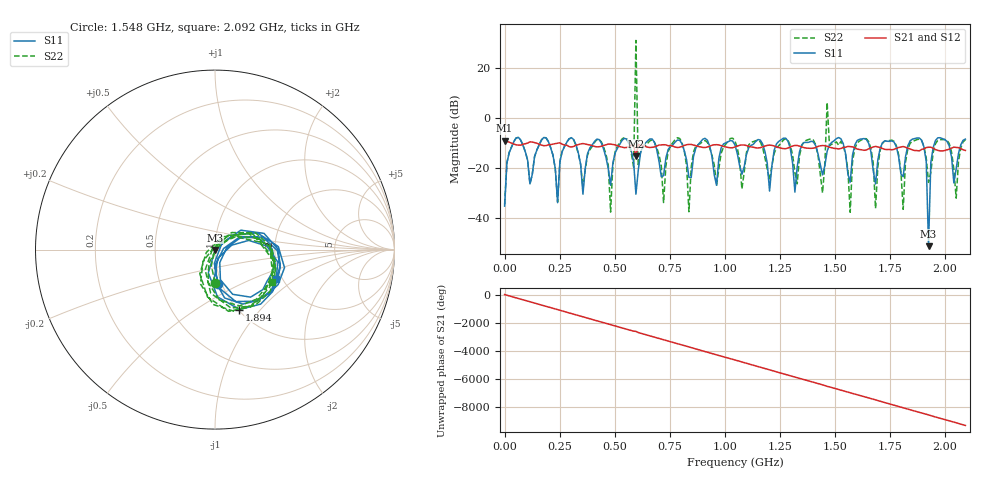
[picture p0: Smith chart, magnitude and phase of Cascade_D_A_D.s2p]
!Agilent Technologies,E8357A,US42070586,A.04.87.01
!Agilent E8357A: A.04.87.01
!Date: Thursday, April 15, 2021 17:30:00
!Correction: S11(Full 2 Port SOLT,1,2) S21(Full 2 Port SOLT,1,2) S12(Full 2 Port SOLT,1,2) S22(Full 2 Port SOLT,1,2)
!S2P File: Measurements: S11, S21, S12, S22:
# Hz S  RI  R 50
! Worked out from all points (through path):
!   201 points, 300 kHz to 2.092 GHz, reference 50 ohm
!   highest |S21| = -9.11 dB at 300 kHz (marker M1); lowest = -15.3 dB at 596.5 MHz (marker M2)
!   lowest |S11| = -51.2 dB at 1.925 GHz (marker M3), VSWR 1.01, Z = 50 - j0.271 ohm
!   |S11| at or under -10 dB: 78.89 MHz to 161.3 MHz (82.43 MHz wide, 68.6 % of centre); 439.7 MHz to 526.7 MHz (87 MHz wide, 18 % of centre); 1.041 GHz to 1.135 GHz (94.07 MHz wide, 8.65 % of centre)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
!   |S22| runs from -37.7 to 30.9 dB; largest |S21 - S12| = 4.5
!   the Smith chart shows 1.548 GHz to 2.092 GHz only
!   S11 on the Smith chart (normalised r, x): 1.548 GHz: 0.96, -0.38; 1.894 GHz: 1.01, -0.78; 2.092 GHz: 1.85, -0.71
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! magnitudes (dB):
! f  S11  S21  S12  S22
! 300 kHz  -35.2  -9.1  -9.1  -34.6
! 63.06 MHz  -7.8  -10.9  -10.8  -7.8
! 355.9 MHz  -30.5  -10.2  -10.3  -28.2
! 586.1 MHz  -17.6  -10.7  -10.7  -19.7
! 596.5 MHz  -30.5  -15.3  13.3  30.9
! 607 MHz  -21.0  -10.6  -10.7  -19.3
! 701.1 MHz  -17.2  -10.9  -10.9  -14.7
! 805.7 MHz  -10.4  -11.4  -11.3  -9.9
! 837.1 MHz  -23.7  -10.6  -10.5  -37.5
! 868.5 MHz  -12.1  -11.1  -11.1  -11.3
! 1.046 GHz  -10.8  -11.6  -11.6  -9.3
! 1.402 GHz  -9.6  -12.1  -12.1  -8.9
! 1.548 GHz  -14.3  -11.7  -11.6  -14.7
! 1.653 GHz  -10.1  -12.4  -12.4  -9.4
! 1.684 GHz  -26.4  -11.4  -11.4  -36.1
! 1.747 GHz  -9.4  -12.6  -12.6  -9.0
! 1.81 GHz  -23.5  -11.4  -11.5  -36.5
! 1.894 GHz  -8.9  -12.6  -12.6  -9.1
! 1.925 GHz  -51.2  -11.7  -11.7  -25.8
! 1.956 GHz  -9.0  -12.7  -12.6  -10.4
! 2.05 GHz  -20.4  -11.8  -11.8  -32.0
! 2.092 GHz  -8.5  -13.0  -12.9  -8.8
